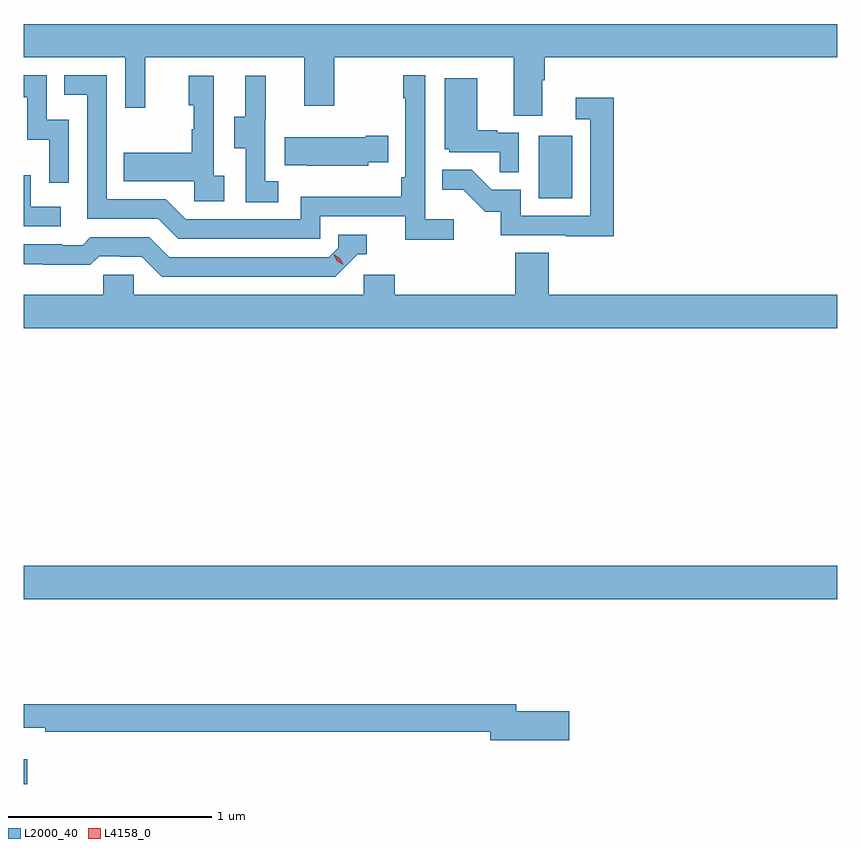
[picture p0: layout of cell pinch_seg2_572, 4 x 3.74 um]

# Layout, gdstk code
import gdstk
lib = gdstk.Library(unit=1e-6, precision=1e-09)
def R(c, l, rs):  # rectangles x0, y0, x1, y1
    for r in rs: c.add(gdstk.rectangle(r[:2], r[2:], *l))
def P(c, l, *ps):  # polygons
    for p in ps: c.add(gdstk.Polygon(p, *l))
L2000_40 = (2000, 40)
L4158_0 = (4158, 0)

pinch_seg2_572 = lib.new_cell('pinch_seg2_572')
R(pinch_seg2_572, L2000_40, [(1137.631,605.435,1137.649,605.557), (1137.631,606.344,1141.631,606.508), (1140.164,608.316,1140.328,608.623)])
P(pinch_seg2_572, L2000_40, [(1140.181,608.896),(1140.194,608.896),(1140.194,609.008),(1141.631,609.008),(1141.631,609.172),(1137.631,609.172),(1137.631,609.008),(1138.131,609.008),(1138.131,608.76),(1138.229,608.76),(1138.229,609.008),(1139.009,609.008),(1139.009,608.769),(1139.157,608.769),(1139.157,609.008),(1140.041,609.008),(1140.041,608.722),(1140.181,608.722)],
  [(1139.746,608.212),(1139.604,608.212),(1139.604,608.92),(1139.496,608.92),(1139.496,608.807),(1139.508,608.807),(1139.508,608.419),(1139.488,608.419),(1139.488,608.323),(1138.992,608.323),(1138.992,608.211),(1138.428,608.211),(1138.329,608.31),(1138.038,608.31),(1138.038,608.919),(1137.829,608.919),(1137.829,608.823),(1137.942,608.823),(1137.942,608.214),(1138.292,608.214),(1138.391,608.115),(1139.088,608.115),(1139.088,608.226),(1139.507,608.226),(1139.507,608.11),(1139.746,608.11)],
  [(1137.852,608.7),(1137.744,608.7),(1137.744,608.919),(1137.631,608.919),(1137.631,608.811),(1137.647,608.811),(1137.647,608.603),(1137.756,608.603),(1137.756,608.391),(1137.852,608.391)],
  [(1138.618,608.426),(1138.566,608.426),(1138.566,608.917),(1138.442,608.917),(1138.442,608.772),(1138.468,608.772),(1138.468,608.654),(1138.458,608.654),(1138.458,608.539),(1138.123,608.539),(1138.123,608.399),(1138.47,608.399),(1138.47,608.301),(1138.618,608.301)],
  [(1138.882,608.399),(1138.818,608.399),(1138.818,608.703),(1138.82,608.703),(1138.82,608.917),(1138.721,608.917),(1138.721,608.715),(1138.667,608.715),(1138.667,608.56),(1138.722,608.56),(1138.722,608.296),(1138.882,608.296)],
  [(1140.066,608.637),(1139.96,608.637),(1139.96,608.65),(1139.86,608.65),(1139.86,608.905),(1139.702,608.905),(1139.702,608.556),(1139.724,608.556),(1139.724,608.541),(1139.971,608.541),(1139.971,608.443),(1140.066,608.443)],
  [(1140.533,608.809),(1140.345,608.809),(1140.345,608.703),(1140.417,608.703),(1140.417,608.229),(1140.075,608.229),(1140.075,608.358),(1139.931,608.358),(1139.833,608.456),(1139.689,608.456),(1139.689,608.357),(1139.793,608.357),(1139.9,608.25),(1139.977,608.25),(1139.977,608.133),(1140.295,608.133),(1140.295,608.128),(1140.533,608.128)],
  [(1139.325,608.492),(1139.423,608.492),(1139.423,608.622),(1139.312,608.622),(1139.312,608.614),(1138.915,608.614),(1138.915,608.477),(1139.023,608.477),(1139.023,608.474),(1139.325,608.474)],
  [(1137.814,608.274),(1137.666,608.274),(1137.666,608.428),(1137.631,608.428),(1137.631,608.178),(1137.814,608.178)],
  [(1139.274,608.04),(1139.317,608.04),(1139.317,608.136),(1139.178,608.136),(1139.178,608.073),(1139.13,608.025),(1138.347,608.025),(1138.248,608.124),(1137.959,608.124),(1137.92,608.085),(1137.821,608.085),(1137.821,608.088),(1137.631,608.088),(1137.631,607.991),(1137.726,607.991),(1137.726,607.989),(1137.959,607.989),(1138.001,608.031),(1138.104,608.031),(1138.104,608.028),(1138.211,608.028),(1138.31,607.929),(1139.163,607.929)],
  [(1141.631,607.84),(1140.212,607.84),(1140.212,608.048),(1140.047,608.048),(1140.047,607.84),(1139.456,607.84),(1139.456,607.938),(1139.304,607.938),(1139.304,607.84),(1138.173,607.84),(1138.173,607.938),(1138.023,607.938),(1138.023,607.84),(1137.631,607.84),(1137.631,607.676),(1141.631,607.676)],
  [(1140.313,605.792),(1140.052,605.792),(1140.052,605.828),(1137.631,605.828),(1137.631,605.711),(1137.736,605.711),(1137.736,605.692),(1139.924,605.692),(1139.924,605.65),(1140.313,605.65)])
P(pinch_seg2_572, L4158_0, [(1139.202,607.988),(1139.171,608.007),(1139.155,608.039),(1139.155,608.039),(1139.155,608.039),(1139.186,608.02),(1139.202,607.988),(1139.202,607.988)])

lib.write_gds('pinch_seg2_572.gds')
